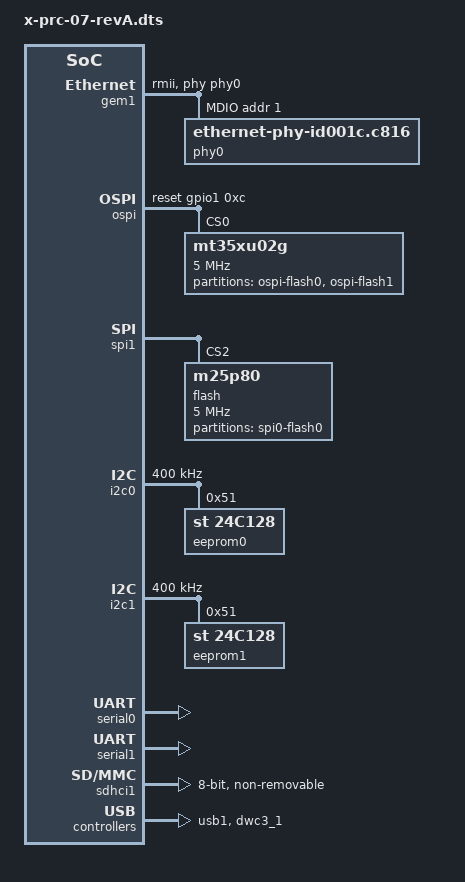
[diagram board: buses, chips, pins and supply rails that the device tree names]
// SPDX-License-Identifier: GPL-2.0
/*
 * dts file for Xilinx ZynqMP VN-P-B2197 (Tenzing2) X-PRC-07 RevA
 *
 * (C) Copyright 2022, Advanced Micro Devices, Inc.
 *
 * Michal Simek <michal.simek@amd.com>
 */

/dts-v1/;
/plugin/;

#include <dt-bindings/gpio/gpio.h>

&{/} {
	model = "X-PRC-07 revA";

	aliases {
		nvmem2 = &eeprom0;
		nvmem3 = &eeprom1;
	};
};

&gem1 {
	status = "okay";
	phy-handle = <&phy0>;
	phy-mode = "rmii";
	mdio1: mdio {
		#address-cells = <1>;
		#size-cells = <0>;

		/* u393 DP83867 - DNP */
		/*
		phy0: ethernet-phy@1 {
			#phy-cells = <1>;
			compatible = "ethernet-phy-id2000.a231";
			reg = <1>;
			ti,rx-internal-delay = <0x8>;
			ti,tx-internal-delay = <0xa>;
			ti,fifo-depth = <0x1>;
			ti,dp83867-rxctrl-strap-quirk;
			reset-gpios = <&gpio1 22 GPIO_ACTIVE_LOW>;
		};
		*/
		/* phy also respond on broadcast address 0 */
		phy0: ethernet-phy@1 { /* u396 RTL8201F */
			#phy-cells = <1>;
			compatible = "ethernet-phy-id001c.c816";
			reg = <1>;
		};
	};
};

&ospi {
	status = "okay";
	num-cs = <2>;
	reset-gpios = <&gpio1 0xc GPIO_ACTIVE_HIGH>;
	reset-names = "qspi";
	#address-cells = <1>;
	#size-cells = <0>;

	mt35xu02g: flash@0 { /* u97/u390 mt35xu02gcba */
		compatible = "mt35xu02g", "micron,m25p80", "jedec,spi-nor";
		reg = <0>, <1>;
		stacked-memories = /bits/ 64 <0x8000000 0x8000000>; /* 128MB */
		#address-cells = <1>;
		#size-cells = <1>;
		cdns,read-delay = <0>;
		cdns,tshsl-ns = <0>;
		cdns,tsd2d-ns = <0>;
		cdns,tchsh-ns = <1>;
		cdns,tslch-ns = <1>;
		spi-tx-bus-width = <8>;
		spi-rx-bus-width = <8>;
		spi-max-frequency = <5000000>;
		broken-flash-reset;
		no-wp;

		partitions {
			compatible = "fixed-partitions";
			#address-cells = <1>;
			#size-cells = <1>;

			partition@0 {
				label = "ospi-flash0";
				reg = <0 0x200000>;
			};
			partition@1 {
				label = "ospi-flash1";
				reg = <0x200000 0x7E00000>;
			};
		};
	};
};

&spi1 {
	status = "okay";
	num-cs = <3>;
	#address-cells = <1>;
	#size-cells = <0>;

	flash@2 { /* u397 MX25U3232 - FIXME not supported in U-Boot/Linux */
		compatible = "m25p80", "jedec,spi-nor";
		spi-max-frequency = <5000000>;
		reg = <2>;

		partitions {
			compatible = "fixed-partitions";
			#address-cells = <1>;
			#size-cells = <1>;
			partition@0 {
				label = "spi0-flash0";
				reg = <0 0x80000>;
			};
		};
	};
};

&i2c0 {
	status = "okay";
	u-boot,dm-pre-reloc;
	clock-frequency = <400000>;
	#address-cells = <1>;
	#size-cells = <0>;

	eeprom0: eeprom@51 { /* u45 WP not used */
		compatible = "st,24c128", "atmel,24c128";
		reg = <0x51>;
		u-boot,dm-pre-reloc;
	};
};

&i2c1 {
	status = "okay";
	u-boot,dm-pre-reloc;
	clock-frequency = <400000>;
	#address-cells = <1>;
	#size-cells = <0>;

	eeprom1: eeprom@51 { /* u46 WP not used */
		compatible = "st,24c128", "atmel,24c128";
		reg = <0x51>;
		u-boot,dm-pre-reloc;
	};
};

&serial0 {
	status = "okay";
};

&serial1 {
	status = "okay";
};

&sdhci1 {
	status = "okay";
	xlnx,mio-bank = <0>;
	non-removable;
	disable-wp;
	bus-width = <8>;
};

&usb1 {
	status = "okay";
};

&dwc3_1 {
	status = "okay";
	snps,ulpi-ext-vbus-drv;
};
